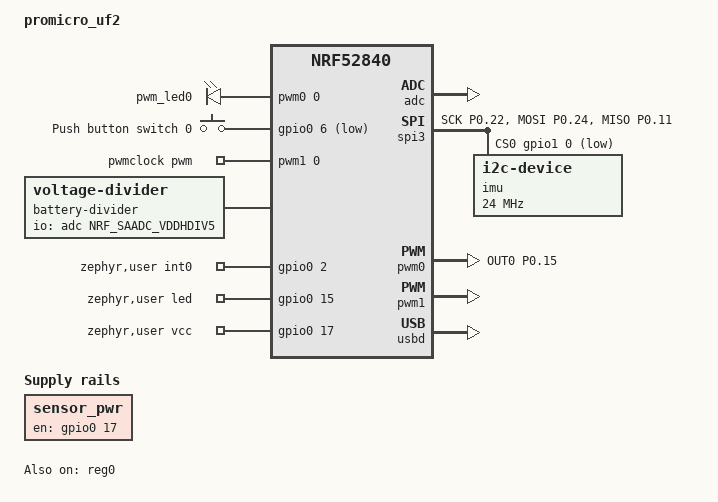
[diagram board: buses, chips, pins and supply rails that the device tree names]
// Copyright (c) 2024 Nordic Semiconductor ASA
// SPDX-License-Identifier: Apache-2.0

/dts-v1/;
#include <nordic/nrf52840_qiaa.dtsi>

&pinctrl {
	spi3_default: spi3_default {
		group1 {
			psels = <NRF_PSEL(SPIM_SCK, 0, 22)>,
				<NRF_PSEL(SPIM_MOSI, 0, 24)>,
				<NRF_PSEL(SPIM_MISO, 0, 11)>;
		};
	};

	spi3_sleep: spi3_sleep {
		group1 {
			psels = <NRF_PSEL(SPIM_SCK, 0, 22)>,
				<NRF_PSEL(SPIM_MOSI, 0, 24)>,
				<NRF_PSEL(SPIM_MISO, 0, 11)>;
			low-power-enable;
		};
	};

	pwm0_default: pwm0_default {
		group1 {
			psels = <NRF_PSEL(PWM_OUT0, 0, 15)>;
			nordic,drive-mode = <NRF_DRIVE_D0S1>;
		};
	};

	pwm0_sleep: pwm0_sleep {
		group1 {
			psels = <NRF_PSEL(PWM_OUT0, 0, 15)>;
			low-power-enable;
		};
	};

	pwm1_default: pwm1_default {
		group1 {
			psels = <NRF_PIN_DISCONNECTED>;
		};
	};

	pwm1_sleep: pwm1_sleep {
		group1 {
			psels = <NRF_PIN_DISCONNECTED>;
			low-power-enable;
		};
	};
};

/ {
	model = "promicro_uf2";
	compatible = "promicro_uf2";

	chosen {
		zephyr,sram = &sram0;
		zephyr,flash = &flash0;
		zephyr,console = &cdc_acm_uart0;
		zephyr,shell-uart = &cdc_acm_uart0;
	};

	pwmleds {
		compatible = "pwm-leds";
		pwm_led0: pwm_led_0 {
			pwms = <&pwm0 0 PWM_MSEC(1) PWM_POLARITY_NORMAL>;
		};
	};

	buttons {
		compatible = "gpio-keys";
		button0: button_0 {
			gpios = <&gpio0 6 (GPIO_PULL_UP | GPIO_ACTIVE_LOW)>;
			label = "Push button switch 0";
		};
	};

	aliases {
		pwm-led0 = &pwm_led0;
	};

	pwmclock: pwmclock {
		compatible = "pwm-clock";
		#clock-cells = <1>;
		pwms = <&pwm1 0 PWM_HZ(32768) PWM_POLARITY_NORMAL>;
	};

	battery-divider {
		compatible = "voltage-divider";
		status = "okay";
		io-channels = <&adc NRF_SAADC_VDDHDIV5>;
		output-ohms = <1>;
		full-ohms = <5>;
	};

	/* Kích hoạt chân P0.17 để cấp nguồn 3.3V cho cảm biến */
	sensor_pwr: sensor_pwr {
		compatible = "regulator-fixed";
		regulator-name = "sensor_pwr";
		enable-gpios = <&gpio0 17 GPIO_ACTIVE_HIGH>;
		regulator-always-on;
		regulator-boot-on;
	};

	zephyr,user {
		int0-gpios = <&gpio0 2 (GPIO_PULL_DOWN | GPIO_ACTIVE_HIGH)>;
		led-gpios = <&gpio0 15 GPIO_OPEN_SOURCE>;
		vcc-gpios = <&gpio0 17 GPIO_ACTIVE_HIGH>;
	};
};

&reg0 {
	status = "okay";
};

&reg1 {
	regulator-initial-mode = <NRF5X_REG_MODE_DCDC>;
};

&adc {
	status = "okay";
};

&gpiote {
	status = "okay";
};

&gpio0 {
	status = "okay";
};

&gpio1 {
	status = "okay";
};

&spi3 {
	compatible = "nordic,nrf-spim";
	status = "okay";
	pinctrl-0 = <&spi3_default>;
	pinctrl-1 = <&spi3_sleep>;
	pinctrl-names = "default", "sleep";
	cs-gpios = <&gpio1 0 GPIO_ACTIVE_LOW>;

	imu: imu@0 {
		compatible = "i2c-device";
		label = "imu";
		reg = <0>;
		spi-max-frequency = <24000000>;
	};
};

&i2c0 {
	status = "disabled";
};

&pwm0 {
	status = "okay";
	pinctrl-0 = <&pwm0_default>;
	pinctrl-1 = <&pwm0_sleep>;
	pinctrl-names = "default", "sleep";
};

&pwm1 {
	status = "okay";
	pinctrl-0 = <&pwm1_default>;
	pinctrl-1 = <&pwm1_sleep>;
	pinctrl-names = "default", "sleep";
};

zephyr_udc0: &usbd {
	compatible = "nordic,nrf-usbd";
	status = "okay";
	cdc_acm_uart0: cdc_acm_uart0 {
		compatible = "zephyr,cdc-acm-uart";
	};
};

&cryptocell {
	status = "disabled";
};

&nfct {
	status = "disabled";
};
